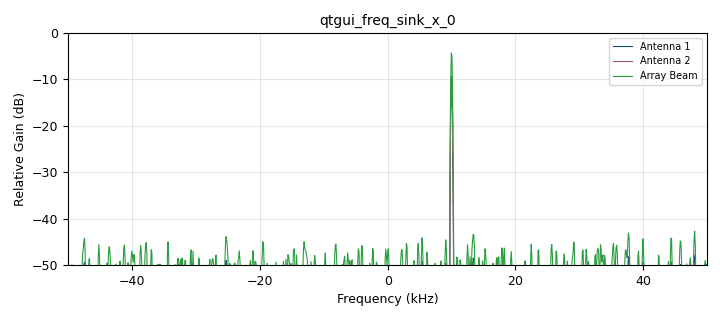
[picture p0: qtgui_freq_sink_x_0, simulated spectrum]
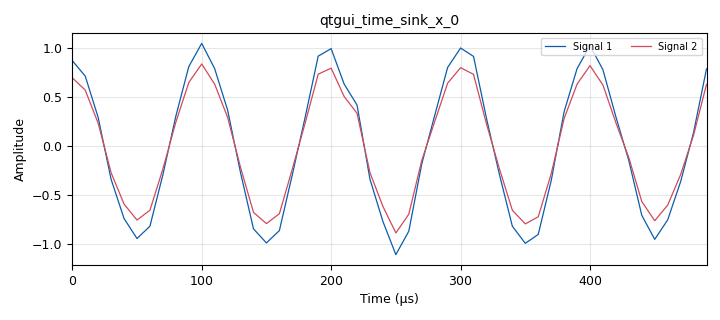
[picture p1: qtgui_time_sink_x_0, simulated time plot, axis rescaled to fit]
options:
  parameters:
    generate_options: qt_gui
    id: demo_phased_array
    output_language: python
    qt_qss_theme: /home/ssarris/src/sdr/dark.qss
    title: Phased Array Demo
  states: {}

blocks:
- name: D_length_m
  id: variable
  parameters:
    value: wavelength/2
  states: {}
- name: aoa_deg_b
  id: variable_qtgui_range
  parameters:
    gui_hint: 3,1,1,1
    label: Angle of Arrival [deg]
    min_len: '1'
    orient: Qt.Horizontal
    start: '-90'
    step: '5'
    stop: '90'
    value: '0'
  states: {}
- name: aoa_rad_h
  id: variable
  parameters:
    value: (aoa_deg_b+90)*np.pi/180.0
  states: {}
- name: beam_steer_deg_b
  id: variable_qtgui_range
  parameters:
    gui_hint: 3,0,1,1
    label: Beam Steer Angle [deg]
    min_len: '1'
    orient: Qt.Horizontal
    start: '-90'
    step: '5'
    stop: '90'
    value: '0'
  states: {}
- name: beam_steer_rad_h
  id: variable
  parameters:
    value: (beam_steer_deg_b+90)*np.pi/180.0
  states: {}
- name: fft_size
  id: variable
  parameters:
    value: '1024'
  states: {}
- name: freq
  id: variable
  parameters:
    value: samp_rate/10
  states: {}
- name: gui_update_sec
  id: variable
  parameters:
    value: '0.1'
  states: {}
- name: k_rad_per_m
  id: variable
  parameters:
    value: 2*np.pi*freq/speed_of_light
  states: {}
- name: n_cycles
  id: variable
  parameters:
    value: '5'
  states: {}
- name: nskip
  id: variable
  parameters:
    value: '103'
  states: {}
- name: phase_shift_rad
  id: variable
  parameters:
    value: k_rad_per_m * D_length_m * np.cos(aoa_rad_h)
  states: {}
- name: phase_steer_rad
  id: variable
  parameters:
    value: '-1*k_rad_per_m * D_length_m * np.cos(beam_steer_rad_h)'
  states: {}
- name: samp_rate
  id: variable
  parameters:
    value: 100e3
  states: {}
- name: speed_of_light
  id: variable
  parameters:
    value: '299792458'
  states: {}
- name: wavelength
  id: variable
  parameters:
    value: speed_of_light/freq
  states: {}
- name: analog_const_source_x_0_0
  id: analog_const_source_x
  parameters:
    const: '0'
    type: float
  states: {}
- name: analog_noise_source_x_1
  id: analog_noise_source_x
  parameters:
    amp: '0.1'
    noise_type: analog.GR_GAUSSIAN
    seed: '0'
    type: complex
  states: {}
- name: analog_noise_source_x_1_0
  id: analog_noise_source_x
  parameters:
    amp: '0.1'
    noise_type: analog.GR_GAUSSIAN
    seed: '0'
    type: complex
  states: {}
- name: analog_sig_source_x_0
  id: analog_sig_source_x
  parameters:
    amp: '1'
    freq: freq
    offset: '0'
    phase: '0'
    samp_rate: samp_rate
    type: complex
    waveform: analog.GR_COS_WAVE
  states: {}
- name: analog_sig_source_x_1
  id: analog_sig_source_x
  parameters:
    amp: '1'
    freq: freq
    offset: '0'
    phase: '0'
    samp_rate: samp_rate
    type: complex
    waveform: analog.GR_COS_WAVE
  states: {}
- name: analog_sig_source_x_2
  id: analog_sig_source_x
  parameters:
    amp: '0.8'
    freq: '0'
    offset: '0'
    phase: phase_shift_rad
    samp_rate: samp_rate
    type: complex
    waveform: analog.GR_COS_WAVE
  states: {}
- name: analog_sig_source_x_2_0
  id: analog_sig_source_x
  parameters:
    amp: '1'
    freq: '0'
    offset: '0'
    phase: phase_steer_rad
    samp_rate: samp_rate
    type: complex
    waveform: analog.GR_COS_WAVE
  states: {}
- name: blocks_add_xx_0
  id: blocks_add_xx
  parameters:
    type: complex
  states: {}
- name: blocks_add_xx_1
  id: blocks_add_xx
  parameters:
    type: complex
  states: {}
- name: blocks_add_xx_2
  id: blocks_add_xx
  parameters:
    type: complex
  states: {}
- name: blocks_complex_to_arg_0
  id: blocks_complex_to_arg
  parameters: {}
  states: {}
- name: blocks_complex_to_real_0
  id: blocks_complex_to_real
  parameters: {}
  states: {}
- name: blocks_complex_to_real_1
  id: blocks_complex_to_real
  parameters: {}
  states: {}
- name: blocks_divide_xx_0
  id: blocks_divide_xx
  parameters:
    type: complex
  states: {}
- name: blocks_float_to_complex_0
  id: blocks_float_to_complex
  parameters: {}
  states: {}
- name: blocks_multiply_const_vxx_0
  id: blocks_multiply_const_vxx
  parameters:
    const: 180.0/np.pi
    type: float
  states: {}
- name: blocks_multiply_const_vxx_1
  id: blocks_multiply_const_vxx
  parameters:
    const: '-1/(2*np.pi)'
    type: float
  states: {}
- name: blocks_multiply_xx_0
  id: blocks_multiply_xx
  parameters:
    type: complex
  states: {}
- name: blocks_multiply_xx_0_0
  id: blocks_multiply_xx
  parameters:
    type: complex
  states: {}
- name: blocks_null_sink_0
  id: blocks_null_sink
  parameters:
    type: complex
  states: {}
- name: blocks_null_source_0
  id: blocks_null_source
  parameters:
    type: complex
  states: {}
- name: blocks_throttle_0
  id: blocks_throttle
  parameters:
    samples_per_second: samp_rate
    type: complex
  states: {}
- name: fft_bin_select_0
  id: fft_bin_select
  parameters:
    fft_size: fft_size
    nskip: nskip
  states: {}
- name: fft_bin_select_0_0
  id: fft_bin_select
  parameters:
    fft_size: fft_size
    nskip: nskip
  states: {}
- name: import_0
  id: import
  parameters:
    imports: import numpy as np
  states: {}
- name: note_0
  id: note
  parameters:
    note: For simulation, use Throttle block to enforse realtime sample rate.  Comment the Throttle when USRP source is enabled.
  states: {}
- name: qtgui_const_sink_x_0
  id: qtgui_const_sink_x
  parameters:
    grid: 'True'
    gui_hint: 2,0,1,2
    legend: 'False'
    size: '1'
    type: complex
    update_time: gui_update_sec
    xmax: '0.5'
    xmin: '-0.5'
    ymax: '0.5'
    ymin: '-0.5'
  states: {}
- name: qtgui_freq_sink_x_0
  id: qtgui_freq_sink_x
  parameters:
    bw: samp_rate
    color1: '"yellow"'
    color2: '"cyan"'
    color3: '"magenta"'
    fc: '0'
    fftsize: fft_size
    grid: 'True'
    gui_hint: 0,0,2,1
    label1: Antenna 1
    label2: Antenna 2
    label3: Array Beam
    nconnections: '3'
    type: complex
    wintype: firdes.WIN_BLACKMAN_hARRIS
    ymax: '0'
    ymin: '-50'
  states: {}
- name: qtgui_number_sink_0_0
  id: qtgui_number_sink
  parameters:
    graph_type: qtgui.NUM_GRAPH_NONE
    gui_hint: 4,0,1,1
    label1: RXA
    label2: RXB
    name: Magnitude (dB)
    nconnections: '2'
    type: float
    unit1: dB
    unit2: dB
    update_time: gui_update_sec
  states: {}
- name: qtgui_number_sink_0_0_0
  id: qtgui_number_sink
  parameters:
    graph_type: qtgui.NUM_GRAPH_NONE
    gui_hint: 4,1,1,1
    label1: Magnitude (dB)
    label2: Phase (deg)
    name: Difference A-B
    nconnections: '2'
    type: float
    unit1: dB
    unit2: degrees
    update_time: gui_update_sec
  states: {}
- name: qtgui_time_sink_x_0
  id: qtgui_time_sink_x
  parameters:
    gui_hint: 0,1,2,1
    nconnections: '2'
    size: int(n_cycles*samp_rate/freq)
    srate: samp_rate
    type: float
    update_time: gui_update_sec
  states: {}
- name: to_mag_db_0
  id: to_mag_db
  parameters: {}
  states: {}
- name: to_mag_db_0_0
  id: to_mag_db
  parameters: {}
  states: {}
- name: to_mag_db_0_0_0
  id: to_mag_db
  parameters: {}
  states: {}
- name: uhd_usrp_source_0
  id: uhd_usrp_source
  parameters:
    ant0: RX2
    ant1: RX2
    center_freq0: '0'
    center_freq1: '0'
    dc_offs_enb0: '""'
    dc_offs_enb1: '""'
    dev_args: '""'
    gain0: '0'
    gain1: '0'
    iq_imbal_enb0: '""'
    iq_imbal_enb1: '""'
    nchan: '2'
    norm_gain0: 'False'
    norm_gain1: 'False'
    samp_rate: samp_rate
    sync: sync
    type: fc32
  states: {state: disabled}

connections:
- [analog_const_source_x_0_0, '0', blocks_float_to_complex_0, '1']
- [analog_noise_source_x_1, '0', blocks_add_xx_0, '1']
- [analog_noise_source_x_1_0, '0', blocks_add_xx_1, '1']
- [analog_sig_source_x_0, '0', blocks_add_xx_0, '0']
- [analog_sig_source_x_1, '0', blocks_add_xx_1, '0']
- [analog_sig_source_x_2, '0', blocks_multiply_xx_0, '1']
- [analog_sig_source_x_2_0, '0', blocks_multiply_xx_0_0, '1']
- [blocks_add_xx_0, '0', blocks_add_xx_2, '0']
- [blocks_add_xx_0, '0', blocks_complex_to_real_0, '0']
- [blocks_add_xx_0, '0', fft_bin_select_0, '0']
- [blocks_add_xx_0, '0', qtgui_freq_sink_x_0, '0']
- [blocks_add_xx_1, '0', blocks_multiply_xx_0, '0']
- [blocks_add_xx_2, '0', qtgui_freq_sink_x_0, '2']
- [blocks_complex_to_arg_0, '0', blocks_multiply_const_vxx_0, '0']
- [blocks_complex_to_arg_0, '0', blocks_multiply_const_vxx_1, '0']
- [blocks_complex_to_real_0, '0', qtgui_time_sink_x_0, '0']
- [blocks_complex_to_real_1, '0', qtgui_time_sink_x_0, '1']
- [blocks_divide_xx_0, '0', blocks_complex_to_arg_0, '0']
- [blocks_divide_xx_0, '0', to_mag_db_0, '0']
- [blocks_float_to_complex_0, '0', qtgui_const_sink_x_0, '0']
- [blocks_multiply_const_vxx_0, '0', qtgui_number_sink_0_0_0, '1']
- [blocks_multiply_const_vxx_1, '0', blocks_float_to_complex_0, '0']
- [blocks_multiply_xx_0, '0', blocks_complex_to_real_1, '0']
- [blocks_multiply_xx_0, '0', blocks_multiply_xx_0_0, '0']
- [blocks_multiply_xx_0, '0', fft_bin_select_0_0, '0']
- [blocks_multiply_xx_0, '0', qtgui_freq_sink_x_0, '1']
- [blocks_multiply_xx_0_0, '0', blocks_add_xx_2, '1']
- [blocks_null_source_0, '0', blocks_throttle_0, '0']
- [blocks_throttle_0, '0', blocks_null_sink_0, '0']
- [fft_bin_select_0, '0', blocks_divide_xx_0, '0']
- [fft_bin_select_0, '0', to_mag_db_0_0, '0']
- [fft_bin_select_0_0, '0', blocks_divide_xx_0, '1']
- [fft_bin_select_0_0, '0', to_mag_db_0_0_0, '0']
- [to_mag_db_0, '0', qtgui_number_sink_0_0_0, '0']
- [to_mag_db_0_0, '0', qtgui_number_sink_0_0, '0']
- [to_mag_db_0_0_0, '0', qtgui_number_sink_0_0, '1']

metadata:
  file_format: 1
